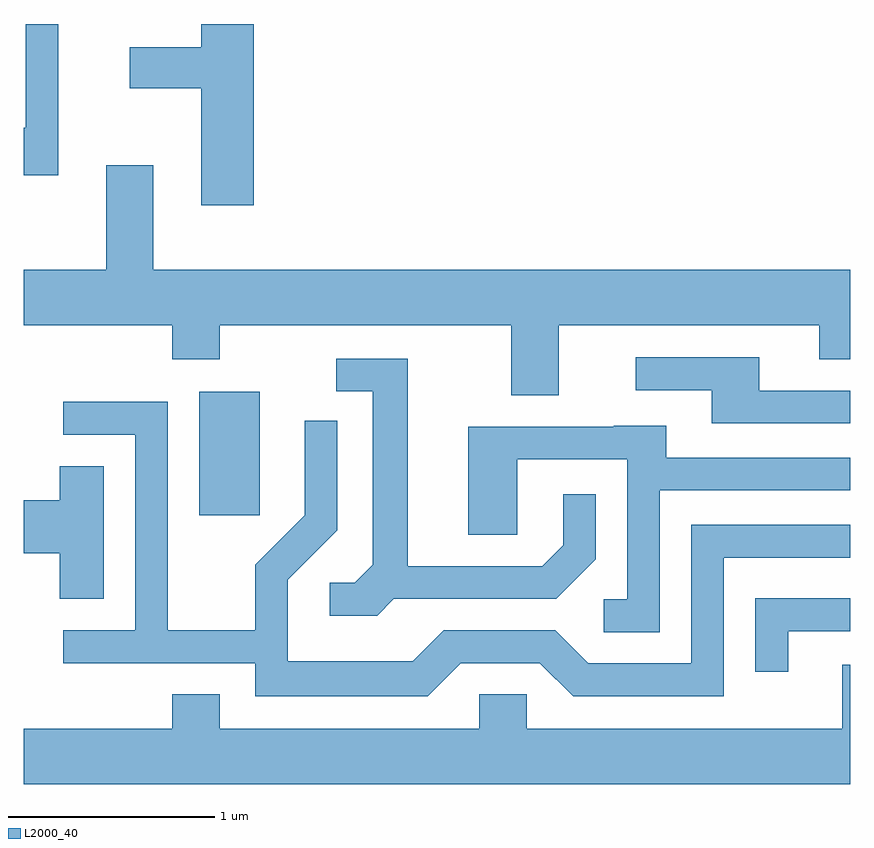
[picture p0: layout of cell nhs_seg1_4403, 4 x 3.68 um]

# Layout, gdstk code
import gdstk
lib = gdstk.Library(unit=1e-6, precision=1e-09)
def R(c, l, rs):  # rectangles x0, y0, x1, y1
    for r in rs: c.add(gdstk.rectangle(r[:2], r[2:], *l))
def P(c, l, *ps):  # polygons
    for p in ps: c.add(gdstk.Polygon(p, *l))
L2000_40 = (2000, 40)

nhs_seg1_4403 = lib.new_cell('nhs_seg1_4403')
R(nhs_seg1_4403, L2000_40, [(318.461,885.336,318.754,885.934)])
P(nhs_seg1_4403, L2000_40, [(318.724,887.712),(318.471,887.712),(318.471,887.599),(318.126,887.599),(318.126,887.401),(318.471,887.401),(318.471,886.836),(318.724,886.836)],
  [(317.779,887.712),(317.621,887.712),(317.621,887.209),(317.611,887.209),(317.611,886.981),(317.779,886.981)],
  [(320.199,886.256),(321.461,886.256),(321.461,886.091),(321.611,886.091),(321.611,886.524),(318.239,886.524),(318.239,887.029),(318.011,887.029),(318.011,886.524),(317.611,886.524),(317.611,886.256),(318.331,886.256),(318.331,886.091),(318.559,886.091),(318.559,886.256),(319.971,886.256),(319.971,885.916),(320.199,885.916)],
  [(321.611,885.939),(321.169,885.939),(321.169,886.099),(320.573,886.099),(320.573,885.941),(320.941,885.941),(320.941,885.781),(321.611,885.781)],
  [(319.402,884.931),(320.187,884.931),(320.379,885.124),(320.379,885.438),(320.221,885.438),(320.221,885.192),(320.119,885.089),(319.469,885.089),(319.469,886.094),(319.123,886.094),(319.123,885.936),(319.301,885.936),(319.301,885.097),(319.214,885.009),(319.093,885.009),(319.093,884.851),(319.322,884.851)],
  [(319.727,884.621),(320.109,884.621),(320.269,884.461),(320.999,884.461),(320.999,885.131),(321.611,885.131),(321.611,885.289),(320.841,885.289),(320.841,884.619),(320.342,884.619),(320.182,884.779),(319.644,884.779),(319.494,884.629),(318.889,884.629),(318.889,885.024),(319.129,885.264),(319.129,885.793),(318.971,885.793),(318.971,885.337),(318.731,885.097),(318.731,884.779),(318.309,884.779),(318.309,885.884),(317.803,885.884),(317.803,885.726),(318.151,885.726),(318.151,884.779),(317.803,884.779),(317.803,884.621),(318.731,884.621),(318.731,884.461),(319.567,884.461)],
  [(320.689,885.456),(321.611,885.456),(321.611,885.614),(320.719,885.614),(320.719,885.769),(320.465,885.769),(320.465,885.764),(319.761,885.764),(319.761,885.241),(319.999,885.241),(319.999,885.606),(320.531,885.606),(320.531,884.929),(320.418,884.929),(320.418,884.771),(320.689,884.771)],
  [(317.999,885.574),(317.786,885.574),(317.786,885.409),(317.611,885.409),(317.611,885.151),(317.786,885.151),(317.786,884.931),(317.999,884.931)],
  [(321.309,884.776),(321.611,884.776),(321.611,884.934),(321.151,884.934),(321.151,884.578),(321.309,884.578)],
  [(318.331,884.469),(318.331,884.304),(317.611,884.304),(317.611,884.036),(321.611,884.036),(321.611,884.614),(321.571,884.614),(321.571,884.304),(320.044,884.304),(320.044,884.469),(319.816,884.469),(319.816,884.304),(318.559,884.304),(318.559,884.469)])

lib.write_gds('nhs_seg1_4403.gds')
